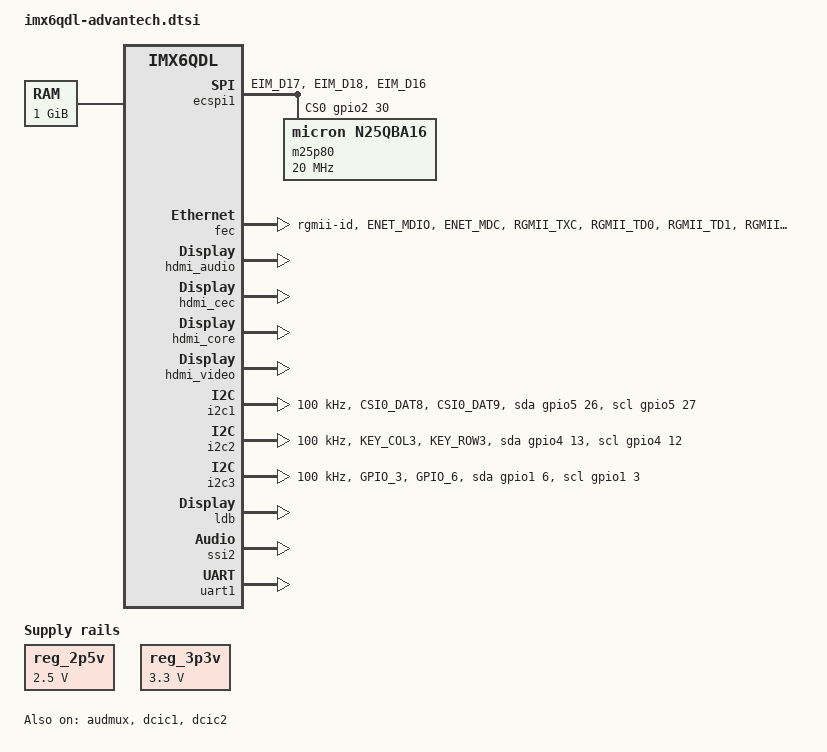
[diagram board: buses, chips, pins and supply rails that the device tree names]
// SPDX-License-Identifier: GPL-2.0+
//
// Copyright 2012 Freescale Semiconductor, Inc.
// Copyright 2011 Linaro Ltd.

#include <dt-bindings/clock/imx6qdl-clock.h>
#include <dt-bindings/gpio/gpio.h>
#include <dt-bindings/input/input.h>

/ {
	aliases {
		mxcfb0 = &mxcfb1;
		mxcfb1 = &mxcfb2;
		mxcfb2 = &mxcfb3;
		mxcfb3 = &mxcfb4;
                mmc0 = &usdhc4;
                mmc1 = &usdhc2;
                mmc2 = &usdhc3;
                mmc3 = &usdhc1;

	};

	chosen {
		stdout-path = &uart1;
	};
	
	memory: memory@10000000 {
		device_type = "memory";
		reg = <0x10000000 0x40000000>;
	};

	reg_2p5v: 2p5v {
		compatible = "regulator-fixed";
		regulator-name = "2P5V";
		regulator-min-microvolt = <2500000>;
		regulator-max-microvolt = <2500000>;
		regulator-always-on;
	};

	reg_3p3v: 3p3v {
		compatible = "regulator-fixed";
		regulator-name = "3P3V";
		regulator-min-microvolt = <3300000>;
		regulator-max-microvolt = <3300000>;
		regulator-always-on;
	};

	audio_sgtl5000: sound {
		compatible = "fsl,sgtl5000",
			     "fsl,imx-audio-sgtl5000";
		model = "sgtl5000";
		ssi-controller = <&ssi2>;
		audio-routing =
			"MIC_IN", "Mic Jack",
			"Mic Jack", "Mic Bias",
			"Headphone Jack", "HP_OUT";
		mux-int-port = <2>;
		mux-ext-port = <3>;
	};

	audio_hdmi: sound-hdmi {
		compatible = "fsl,imx6q-audio-hdmi",
			     "fsl,imx-audio-hdmi";
		model = "imx-audio-hdmi";
		hdmi-controller = <&hdmi_audio>;
	};

	mxcfb1: fb@0 {
		compatible = "fsl,mxc_sdc_fb";
		disp_dev = "hdmi";
		interface_pix_fmt = "RGB24";
		mode_str ="1920x1080M@60";
		default_bpp = <16>;
		int_clk = <0>;
		late_init = <0>;
		status = "disabled";
	};

	mxcfb2: fb@1 {
		compatible = "fsl,mxc_sdc_fb";
		disp_dev = "lcd";
		interface_pix_fmt = "RGB24";
		mode_str ="1920x1080M@60";
		default_bpp = <16>;
		int_clk = <0>;
		late_init = <0>;
		status = "disabled";
	};

	mxcfb3: fb@2 {
		compatible = "fsl,mxc_sdc_fb";
		disp_dev = "ldb";
		interface_pix_fmt = "RGB24";
		default_bpp = <16>;
		int_clk = <0>;
		late_init = <0>;
		status = "disabled";
	};

	mxcfb4: fb@3 {
		compatible = "fsl,mxc_sdc_fb";
		disp_dev = "ldb";
		interface_pix_fmt = "RGB24";
		default_bpp = <16>;
		int_clk = <0>;
		late_init = <0>;
		status = "disabled";
	};

	lcd@0 {
		compatible = "fsl,lcd";
		ipu_id = <0>;
		disp_id = <0>;
		default_ifmt = "RGB565";
		pinctrl-names = "default";
		pinctrl-0 = <&pinctrl_ipu1_1>;
		status = "okay";
	};

	bkl: backlight {
		pinctrl-names = "default";
		pinctrl-0 = <&pinctrl_lvds_bkl_1 &pinctrl_lvds_vcc_1>;
		compatible = "pwm-backlight";
		brightness-levels = <0 4 8 16 32 64 128 255>;
		default-brightness-level = <7>;
		status = "disabled";
	};

	v4l2_capture_0: v4l2_cap_0 {
		compatible = "fsl,imx6q-v4l2-capture";
		ipu_id = <0>;
		csi_id = <0>;
		mclk_source = <0>;
		status = "disabled";
	};

	v4l2_capture_1: v4l2_cap_1 {
		compatible = "fsl,imx6q-v4l2-capture";
		ipu_id = <0>;
		csi_id = <1>;
		mclk_source = <0>;
		status = "disabled";
	};

	v4l2_output: v4l2_out {
		compatible = "fsl,mxc_v4l2_output";
		status = "okay";
	};
};

&mipi_csi {
	status = "disabled";
	ipu_id = <0>;
	csi_id = <1>;
	v_channel = <0>;
	lanes = <2>;
};

&audmux {
	pinctrl-names = "default";
	pinctrl-0 = <&pinctrl_audmux_2>;
	status = "okay";
};

&clks {
	assigned-clocks = <&clks IMX6QDL_CLK_LDB_DI0_SEL>,
			  <&clks IMX6QDL_CLK_LDB_DI1_SEL>;
	assigned-clock-parents = <&clks IMX6QDL_CLK_PLL2_PFD0_352M>,
				 <&clks IMX6QDL_CLK_PLL2_PFD0_352M>;
};

&dcic1 {
	dcic_id = <0>;
	dcic_mux = "dcic-hdmi";
	status = "okay";
};

&dcic2 {
	dcic_id = <1>;
	dcic_mux = "dcic-lvds1";
	status = "okay";
};

&ecspi1 {
	cs-gpios = <&gpio2 30 GPIO_ACTIVE_HIGH>;
	pinctrl-names = "default";
	pinctrl-0 = <&pinctrl_ecspi1_cs_0 &pinctrl_ecspi1_1>;
	status = "okay";

	m25p80@0 {
		#address-cells = <1>;
		#size-cells = <1>;
		compatible = "micron,n25qba16", "jedec,spi-nor";
		spi-max-frequency = <20000000>;
		reg = <0>;
	};
};

&fec {
	pinctrl-names = "default";
	pinctrl-0 = <&pinctrl_enet1_1>;
	phy-mode = "rgmii-id";
	fsl,magic-packet;
	status = "okay";
};

&gpc {
	fsl,ldo-bypass = <0>; /* use ldo-bypass, u-boot will check it and configure */
	fsl,wdog-reset = <1>; /* watchdog select of reset source */
	pu-supply = <&reg_pu>; /* ldo-bypass:use pu_dummy if VDDSOC share with VDDPU */
};

&hdmi_audio {
	status = "okay";
};

&hdmi_cec {
	status = "okay";
};

&hdmi_core {
	ipu_id = <1>;
	disp_id = <1>;
	status = "okay";
};

&hdmi_video {
	fsl,phy_reg_vlev = <0x0294>;
	fsl,phy_reg_cksymtx = <0x800d>;
	status = "okay";
};

&i2c1 {
	clock-frequency = <100000>;
	pinctrl-names = "default", "gpio";
	pinctrl-0 = <&pinctrl_i2c1>;
	pinctrl-1 = <&pinctrl_i2c1_gpio>;
	scl-gpios = <&gpio5 27 GPIO_ACTIVE_HIGH>;
	sda-gpios = <&gpio5 26 GPIO_ACTIVE_HIGH>;
	status = "okay";
};

&i2c2 {
	clock-frequency = <100000>;
	pinctrl-names = "default", "gpio";
	pinctrl-0 = <&pinctrl_i2c2>;
	pinctrl-1 = <&pinctrl_i2c2_gpio>;
	scl-gpios = <&gpio4 12 GPIO_ACTIVE_HIGH>;
	sda-gpios = <&gpio4 13 GPIO_ACTIVE_HIGH>;
	status = "okay";
};

&i2c3 {
	clock-frequency = <100000>;
	pinctrl-names = "default", "gpio";
	pinctrl-0 = <&pinctrl_i2c3>;
	pinctrl-1 = <&pinctrl_i2c3_gpio>;
	scl-gpios = <&gpio1 3 GPIO_ACTIVE_HIGH>;
	sda-gpios = <&gpio1 6 GPIO_ACTIVE_HIGH>;
	status = "okay";
};

&iomuxc {

	enet1 {
		pinctrl_enet1_1: enetgrp {
			fsl,pins = <
				MX6QDL_PAD_ENET_MDIO__ENET_MDIO		0x1b0b0
				MX6QDL_PAD_ENET_MDC__ENET_MDC		0x1b0b0
				MX6QDL_PAD_RGMII_TXC__RGMII_TXC		0x1b030
				MX6QDL_PAD_RGMII_TD0__RGMII_TD0		0x1b030
				MX6QDL_PAD_RGMII_TD1__RGMII_TD1		0x1b030
				MX6QDL_PAD_RGMII_TD2__RGMII_TD2		0x1b030
				MX6QDL_PAD_RGMII_TD3__RGMII_TD3		0x1b030
				MX6QDL_PAD_RGMII_TX_CTL__RGMII_TX_CTL	0x1b030
				MX6QDL_PAD_ENET_REF_CLK__ENET_TX_CLK	0x1b0b0
				MX6QDL_PAD_RGMII_RXC__RGMII_RXC		0x1b030
				MX6QDL_PAD_RGMII_RD0__RGMII_RD0		0x1b030
				MX6QDL_PAD_RGMII_RD1__RGMII_RD1		0x1b030
				MX6QDL_PAD_RGMII_RD2__RGMII_RD2		0x1b030
				MX6QDL_PAD_RGMII_RD3__RGMII_RD3		0x1b030
				MX6QDL_PAD_RGMII_RX_CTL__RGMII_RX_CTL	0x1b030
			>;
		};

		pinctrl_enet1_rst_1: enet1_rstgrp-1 {
			fsl,pins = <
				MX6QDL_PAD_ENET_CRS_DV__GPIO1_IO25	0x80000000 /* RGMII_RST# */
			>;
		};
	};

	hog {
		/* Common GPIO */
		pinctrl_hog_1: hoggrp-1 {
			fsl,pins = <
				MX6QDL_PAD_NANDF_D2__GPIO2_IO02 	0x1b0b0 /* SD2_CD */
				MX6QDL_PAD_NANDF_D3__GPIO2_IO03 	0x1b0b0	/* SD2_WP */
				MX6QDL_PAD_EIM_D30__GPIO3_IO30 		0x80000000	/* BORAD_ID0 */
				MX6QDL_PAD_EIM_D31__GPIO3_IO31 		0x80000000	/* BORAD_ID1 */
				MX6QDL_PAD_GPIO_0__CCM_CLKO1   		0x130b0     /* AUDIO CLK */
			>;
		};
	};

	lvds {
		pinctrl_lvds_bkl_1: lvds_bklgrp-1 {
			fsl,pins = <
				MX6QDL_PAD_KEY_COL0__GPIO4_IO06		0x170b0		/* LCD_BKLT_EN */
			>;
		};
		pinctrl_lvds_bkl_2: lvds_bklgrp-2 {
			fsl,pins = <
				MX6QDL_PAD_SD1_CLK__GPIO1_IO20		0x170b0		/* LCD_BKLT_EN */
			>;
		};
		pinctrl_lvds_vcc_1: lvds_vccgrp-1 {
			fsl,pins = <
				MX6QDL_PAD_KEY_ROW0__GPIO4_IO07		0x170b0		/* LCD_VDD_EN */
			>;
		};
		pinctrl_bklt_vcc_1: bklt_vccgrp-1 {
			fsl,pins = <
				MX6QDL_PAD_KEY_COL0__GPIO4_IO06		0x170b0		/* VDD_BKLT_EN */
			>;
		};
	};

	/* Add */
	audmux {
		pinctrl_audmux_1: audmux-1 {
			fsl,pins = <
				MX6QDL_PAD_SD2_DAT0__AUD4_RXD  0x130b0
				MX6QDL_PAD_SD2_DAT3__AUD4_TXC  0x130b0
				MX6QDL_PAD_SD2_DAT2__AUD4_TXD  0x110b0
				MX6QDL_PAD_SD2_DAT1__AUD4_TXFS 0x130b0
			>;
		};

		pinctrl_audmux_2: audmux-2 {
			fsl,pins = <
				MX6QDL_PAD_CSI0_DAT7__AUD3_RXD  0x130b0
				MX6QDL_PAD_CSI0_DAT4__AUD3_TXC  0x130b0
				MX6QDL_PAD_CSI0_DAT5__AUD3_TXD  0x110b0
				MX6QDL_PAD_CSI0_DAT6__AUD3_TXFS 0x130b0
			>;
		};

		pinctrl_audmux_3: audmux-3 {
			fsl,pins = <
				MX6QDL_PAD_DISP0_DAT16__AUD5_TXC  0x130b0
				MX6QDL_PAD_DISP0_DAT18__AUD5_TXFS 0x130b0
				MX6QDL_PAD_DISP0_DAT19__AUD5_RXD  0x130b0
			>;
		};
	};

	ecspi1 {
		pinctrl_ecspi1_cs_1: ecspi1_cs_grp-1 {
			fsl,pins = <
				MX6QDL_PAD_EIM_D19__GPIO3_IO19 0x80000000
			>;
		};

		pinctrl_ecspi1_1: ecspi1grp-1 {
			fsl,pins = <
				MX6QDL_PAD_EIM_D17__ECSPI1_MISO 0x100b1
				MX6QDL_PAD_EIM_D18__ECSPI1_MOSI 0x100b1
				MX6QDL_PAD_EIM_D16__ECSPI1_SCLK 0x100b1
			>;
		};

		pinctrl_ecspi1_2: ecspi1grp-2 {
			fsl,pins = <
				MX6QDL_PAD_KEY_COL1__ECSPI1_MISO 0x100b1
				MX6QDL_PAD_KEY_ROW0__ECSPI1_MOSI 0x100b1
				MX6QDL_PAD_KEY_COL0__ECSPI1_SCLK 0x100b1
			>;
		};
	};

	ecspi3 {
		pinctrl_ecspi3_1: ecspi3grp-1 {
			fsl,pins = <
				MX6QDL_PAD_DISP0_DAT2__ECSPI3_MISO 0x100b1
				MX6QDL_PAD_DISP0_DAT1__ECSPI3_MOSI 0x100b1
				MX6QDL_PAD_DISP0_DAT0__ECSPI3_SCLK 0x100b1
			>;
		};
	};


	can1 {
		pinctrl_flexcan1_1: flexcan1grp-1 {
			fsl,pins = <
				MX6QDL_PAD_KEY_ROW2__FLEXCAN1_RX 0x80000000
				MX6QDL_PAD_KEY_COL2__FLEXCAN1_TX 0x80000000
			>;
		};

		pinctrl_flexcan1_2: flexcan1grp-2 {
			fsl,pins = <
				MX6QDL_PAD_GPIO_7__FLEXCAN1_TX   0x80000000
				MX6QDL_PAD_KEY_ROW2__FLEXCAN1_RX 0x80000000
			>;
		};
	};

	can2 {
		pinctrl_flexcan2_1: flexcan2grp-1 {
			fsl,pins = <
				MX6QDL_PAD_KEY_COL4__FLEXCAN2_TX 0x80000000
				MX6QDL_PAD_KEY_ROW4__FLEXCAN2_RX 0x80000000
			>;
		};
	};
	hdmi_hdcp {
		pinctrl_hdmi_cec: hdmicecgrp {
			fsl,pins = <
				MX6QDL_PAD_KEY_ROW2__HDMI_TX_CEC_LINE 0x108b0
			>;
		};

		pinctrl_hdmi_hdcp: hdmihdcpgrp {
			fsl,pins = <
				MX6QDL_PAD_KEY_COL3__HDMI_TX_DDC_SCL 0x4001b8b1
				MX6QDL_PAD_KEY_ROW3__HDMI_TX_DDC_SDA 0x4001b8b1
			>;
		};
	};

	i2c1 {
		pinctrl_i2c1: i2c1grp {
			fsl,pins = <
				MX6QDL_PAD_CSI0_DAT8__I2C1_SDA		0x4001b8b1
				MX6QDL_PAD_CSI0_DAT9__I2C1_SCL		0x4001b8b1
			>;
		};
	};

	i2c2 {
		pinctrl_i2c1_gpio: i2c1_gpio_grp {
			fsl,pins = <
				MX6QDL_PAD_CSI0_DAT8__GPIO5_IO26	0x1b0b0
				MX6QDL_PAD_CSI0_DAT9__GPIO5_IO27	0x1b8b0
			>;
		};

		pinctrl_i2c2: i2c2grp {
			fsl,pins = <
				MX6QDL_PAD_KEY_COL3__I2C2_SCL		0x4001b8b1
				MX6QDL_PAD_KEY_ROW3__I2C2_SDA		0x4001b8b1
			>;
		};

		pinctrl_i2c2_gpio: i2c2_gpio_grp {
			fsl,pins = <
				MX6QDL_PAD_KEY_COL3__GPIO4_IO12		0x1b8b0
				MX6QDL_PAD_KEY_ROW3__GPIO4_IO13		0x1b0b0
			>;
		};
	};
		pinctrl_i2c2_egalax_int: i2c2egalaxintgrp {
	i2c3 {
			fsl,pins = <
				MX6QDL_PAD_NANDF_ALE__GPIO6_IO08	0x1b0b0
			>;
		};

		pinctrl_i2c3: i2c3grp {
			fsl,pins = <
				MX6QDL_PAD_GPIO_3__I2C3_SCL		0x4001b8b1
				MX6QDL_PAD_GPIO_6__I2C3_SDA		0x4001b8b1
			>;
		};

		pinctrl_i2c3_gpio: i2c3_gpio_grp {
			fsl,pins = <
				MX6QDL_PAD_GPIO_3__GPIO1_IO03		0x1b8b0
				MX6QDL_PAD_GPIO_6__GPIO1_IO06		0x1b0b0
			>;
		};

	};
	ipu1 {
		pinctrl_ipu1_1: ipu1grp-1 {
			fsl,pins = <
				MX6QDL_PAD_DI0_DISP_CLK__IPU1_DI0_DISP_CLK 0x10
				MX6QDL_PAD_DI0_PIN15__IPU1_DI0_PIN15       0x10
				MX6QDL_PAD_DI0_PIN2__IPU1_DI0_PIN02        0x10
				MX6QDL_PAD_DI0_PIN3__IPU1_DI0_PIN03        0x10
				MX6QDL_PAD_DI0_PIN4__IPU1_DI0_PIN04        0x80000000
				MX6QDL_PAD_DISP0_DAT0__IPU1_DISP0_DATA00   0x10
				MX6QDL_PAD_DISP0_DAT1__IPU1_DISP0_DATA01   0x10
				MX6QDL_PAD_DISP0_DAT2__IPU1_DISP0_DATA02   0x10
				MX6QDL_PAD_DISP0_DAT3__IPU1_DISP0_DATA03   0x10
				MX6QDL_PAD_DISP0_DAT4__IPU1_DISP0_DATA04   0x10
				MX6QDL_PAD_DISP0_DAT5__IPU1_DISP0_DATA05   0x10
				MX6QDL_PAD_DISP0_DAT6__IPU1_DISP0_DATA06   0x10
				MX6QDL_PAD_DISP0_DAT7__IPU1_DISP0_DATA07   0x10
				MX6QDL_PAD_DISP0_DAT8__IPU1_DISP0_DATA08   0x10
				MX6QDL_PAD_DISP0_DAT9__IPU1_DISP0_DATA09   0x10
				MX6QDL_PAD_DISP0_DAT10__IPU1_DISP0_DATA10  0x10
				MX6QDL_PAD_DISP0_DAT11__IPU1_DISP0_DATA11  0x10
				MX6QDL_PAD_DISP0_DAT12__IPU1_DISP0_DATA12  0x10
				MX6QDL_PAD_DISP0_DAT13__IPU1_DISP0_DATA13  0x10
				MX6QDL_PAD_DISP0_DAT14__IPU1_DISP0_DATA14  0x10
				MX6QDL_PAD_DISP0_DAT15__IPU1_DISP0_DATA15  0x10
				MX6QDL_PAD_DISP0_DAT16__IPU1_DISP0_DATA16  0x10
				MX6QDL_PAD_DISP0_DAT17__IPU1_DISP0_DATA17  0x10
				MX6QDL_PAD_DISP0_DAT18__IPU1_DISP0_DATA18  0x10
				MX6QDL_PAD_DISP0_DAT19__IPU1_DISP0_DATA19  0x10
				MX6QDL_PAD_DISP0_DAT20__IPU1_DISP0_DATA20  0x10
				MX6QDL_PAD_DISP0_DAT21__IPU1_DISP0_DATA21  0x10
				MX6QDL_PAD_DISP0_DAT22__IPU1_DISP0_DATA22  0x10
				MX6QDL_PAD_DISP0_DAT23__IPU1_DISP0_DATA23  0x10
			>;
		};

		pinctrl_ipu1_2: ipu1grp-2 { /* parallel camera */
			fsl,pins = <
				MX6QDL_PAD_CSI0_DAT12__IPU1_CSI0_DATA12    0x80000000
				MX6QDL_PAD_CSI0_DAT13__IPU1_CSI0_DATA13    0x80000000
				MX6QDL_PAD_CSI0_DAT14__IPU1_CSI0_DATA14    0x80000000
				MX6QDL_PAD_CSI0_DAT15__IPU1_CSI0_DATA15    0x80000000
				MX6QDL_PAD_CSI0_DAT16__IPU1_CSI0_DATA16    0x80000000
				MX6QDL_PAD_CSI0_DAT17__IPU1_CSI0_DATA17    0x80000000
				MX6QDL_PAD_CSI0_DAT18__IPU1_CSI0_DATA18    0x80000000
				MX6QDL_PAD_CSI0_DAT19__IPU1_CSI0_DATA19    0x80000000
				MX6QDL_PAD_CSI0_DATA_EN__IPU1_CSI0_DATA_EN 0x80000000
				MX6QDL_PAD_CSI0_PIXCLK__IPU1_CSI0_PIXCLK   0x80000000
				MX6QDL_PAD_CSI0_MCLK__IPU1_CSI0_HSYNC      0x80000000
				MX6QDL_PAD_CSI0_VSYNC__IPU1_CSI0_VSYNC     0x80000000
			>;
		};

	};

	pwm1 {
		pinctrl_pwm1_1: pwm1grp-1 {
			fsl,pins = <
				MX6QDL_PAD_SD1_DAT3__PWM1_OUT		0x1b0b1
			>;
		};
	};
		
	pwm3 {
		pinctrl_pwm3_1: pwm3grp-1 {
			fsl,pins = <
				MX6QDL_PAD_SD4_DAT1__PWM3_OUT 		0x1b0b1
				>;
		};
	};
		
	spdif {
		pinctrl_spdif_1: spdifgrp-1 {
			fsl,pins = <
				MX6QDL_PAD_KEY_COL3__SPDIF_IN 0x1b0b0
			>;
		};

		pinctrl_spdif_2: spdifgrp-2 {
			fsl,pins = <
				MX6QDL_PAD_GPIO_16__SPDIF_IN  0x1b0b0
				MX6QDL_PAD_GPIO_17__SPDIF_OUT 0x1b0b0
			>;
		};
	};

	uart1 {
		pinctrl_uart1_1: uart1grp-1 {
			fsl,pins = <
				MX6QDL_PAD_CSI0_DAT10__UART1_TX_DATA	0x1b0b1
				MX6QDL_PAD_CSI0_DAT11__UART1_RX_DATA	0x1b0b1
			>;
		};
	};

	uart2 {
		pinctrl_uart2_1: uart2grp-1 {
			fsl,pins = <
				MX6QDL_PAD_EIM_D26__UART2_TX_DATA 0x1b0b1
				MX6QDL_PAD_EIM_D27__UART2_RX_DATA 0x1b0b1
			>;
		};
	};

	uart3 {
		pinctrl_uart3_1: uart3grp-1 {
			fsl,pins = <
				MX6QDL_PAD_SD4_CLK__UART3_RX_DATA 0x1b0b1
				MX6QDL_PAD_SD4_CMD__UART3_TX_DATA 0x1b0b1
				MX6QDL_PAD_EIM_D30__UART3_CTS_B   0x1b0b1
				MX6QDL_PAD_EIM_EB3__UART3_RTS_B   0x1b0b1
			>;
		};

	};
	uart4 {
		pinctrl_uart4_1: uart4grp-1 {
			fsl,pins = <
				MX6QDL_PAD_KEY_COL0__UART4_TX_DATA 0x1b0b1
				MX6QDL_PAD_KEY_ROW0__UART4_RX_DATA 0x1b0b1
			>;
		};
	};

	uart5 {
		pinctrl_uart5_1: uart5grp-1 {
			fsl,pins = <
				MX6QDL_PAD_KEY_COL1__UART5_TX_DATA	0x1b0b1
				MX6QDL_PAD_KEY_ROW1__UART5_RX_DATA	0x1b0b1
				MX6QDL_PAD_KEY_COL4__UART5_RTS_B	0x1b0b1
				MX6QDL_PAD_KEY_ROW4__UART5_CTS_B	0x1b0b1
			>;
		};

		pinctrl_uart5dte_1: uart5dtegrp-1 {
			fsl,pins = <
				MX6QDL_PAD_KEY_ROW1__UART5_TX_DATA	0x1b0b1
				MX6QDL_PAD_KEY_COL1__UART5_RX_DATA	0x1b0b1
				MX6QDL_PAD_KEY_ROW4__UART5_RTS_B	0x1b0b1
				MX6QDL_PAD_KEY_COL4__UART5_CTS_B	0x1b0b1
			>;
		};
	};

	usbotg {
		pinctrl_usbotg_1: usbotggrp-1 {
			fsl,pins = <
				MX6QDL_PAD_GPIO_1__USB_OTG_ID 0x17059
			>;
		};

		pinctrl_usbotg_2: usbotggrp-2 {
			fsl,pins = <
				MX6QDL_PAD_ENET_RX_ER__USB_OTG_ID 0x17059
			>;
		};
	};

	usdhc2 {
		pinctrl_usdhc2_1: usdhc2grp-1 {
			fsl,pins = <
				MX6QDL_PAD_SD2_CMD__SD2_CMD		0x17059
				MX6QDL_PAD_SD2_CLK__SD2_CLK		0x10059
				MX6QDL_PAD_SD2_DAT0__SD2_DATA0		0x17059
				MX6QDL_PAD_SD2_DAT1__SD2_DATA1		0x17059
				MX6QDL_PAD_SD2_DAT2__SD2_DATA2		0x17059
				MX6QDL_PAD_SD2_DAT3__SD2_DATA3		0x17059
				MX6QDL_PAD_NANDF_D4__SD2_DATA4		0x17059
				MX6QDL_PAD_NANDF_D5__SD2_DATA5		0x17059
				MX6QDL_PAD_NANDF_D6__SD2_DATA6		0x17059
				MX6QDL_PAD_NANDF_D7__SD2_DATA7		0x17059
			>;
		};

		pinctrl_usdhc2_2: usdhc2grp-2 {
			fsl,pins = <
				MX6QDL_PAD_SD2_CMD__SD2_CMD    		0x17059
				MX6QDL_PAD_SD2_CLK__SD2_CLK    		0x10059
				MX6QDL_PAD_SD2_DAT0__SD2_DATA0 		0x17059
				MX6QDL_PAD_SD2_DAT1__SD2_DATA1		0x17059
				MX6QDL_PAD_SD2_DAT2__SD2_DATA2 		0x17059
				MX6QDL_PAD_SD2_DAT3__SD2_DATA3 		0x17059
			>;
		};
	};
	usdhc3 {
		pinctrl_usdhc3_1: usdhc3grp-1 {
			fsl,pins = <
				MX6QDL_PAD_SD3_CMD__SD3_CMD		0x17059
				MX6QDL_PAD_SD3_CLK__SD3_CLK		0x10059
				MX6QDL_PAD_SD3_DAT0__SD3_DATA0		0x17059
				MX6QDL_PAD_SD3_DAT1__SD3_DATA1		0x17059
				MX6QDL_PAD_SD3_DAT2__SD3_DATA2		0x17059
				MX6QDL_PAD_SD3_DAT3__SD3_DATA3		0x17059
				MX6QDL_PAD_SD3_DAT4__SD3_DATA4		0x17059
				MX6QDL_PAD_SD3_DAT5__SD3_DATA5		0x17059
				MX6QDL_PAD_SD3_DAT6__SD3_DATA6		0x17059
				MX6QDL_PAD_SD3_DAT7__SD3_DATA7		0x17059
			>;
		};

		pinctrl_usdhc3_2: usdhc3grp-2 {
			fsl,pins = <
				MX6QDL_PAD_SD3_CMD__SD3_CMD   		0x17059
				MX6QDL_PAD_SD3_CLK__SD3_CLK    		0x10059
				MX6QDL_PAD_SD3_DAT0__SD3_DATA0 		0x17059
				MX6QDL_PAD_SD3_DAT1__SD3_DATA1 		0x17059
				MX6QDL_PAD_SD3_DAT2__SD3_DATA2 		0x17059
				MX6QDL_PAD_SD3_DAT3__SD3_DATA3 		0x17059
			>;
		};
	};
	usdhc4 {
		pinctrl_usdhc4_1: usdhc4grp-1 {
			fsl,pins = <
				MX6QDL_PAD_SD4_CMD__SD4_CMD		0x17059
				MX6QDL_PAD_SD4_CLK__SD4_CLK		0x10059
				MX6QDL_PAD_SD4_DAT0__SD4_DATA0		0x17059
				MX6QDL_PAD_SD4_DAT1__SD4_DATA1		0x17059
				MX6QDL_PAD_SD4_DAT2__SD4_DATA2		0x17059
				MX6QDL_PAD_SD4_DAT3__SD4_DATA3		0x17059
				MX6QDL_PAD_SD4_DAT4__SD4_DATA4		0x17059
				MX6QDL_PAD_SD4_DAT5__SD4_DATA5		0x17059
				MX6QDL_PAD_SD4_DAT6__SD4_DATA6		0x17059
				MX6QDL_PAD_SD4_DAT7__SD4_DATA7		0x17059
			>;
		};

	};
};

&ldb {
	status = "okay";
	/* split-mode; */ /* dual-channel setting */

	lvds-channel@0 {
		fsl,data-mapping = "spwg";
		fsl,data-width = <24>;
		crtc = "ipu2-di0";
		primary;
		status = "okay";

		display-timings {
			native-mode = <&timing00>;
			timing00: g070vw01v0 {
				clock-frequency = <29500000>;
				hactive = <800>;
				vactive = <480>;
				hback-porch = <96>;
				hfront-porch = <24>;
				vback-porch = <3>;
				vfront-porch = <10>;
				hsync-len = <72>;
				vsync-len = <7>;
			};

			//SI Test panel
			timing10: g150xgel04 {
				clock-frequency = <63500000>;
				hactive = <1024>;
				vactive = <768>;
				hback-porch = <152>;
				hfront-porch = <48>;
				vback-porch = <3>;
				vfront-porch = <23>;
				hsync-len = <104>;
				vsync-len = <4>;
			};
			//Dual channel panel
			timing20: g190eg01v1 {
				clock-frequency = <109000000>;
				hactive = <1280>;
				vactive = <1024>;
				hback-porch = <216>;
				hfront-porch = <80>;
				vback-porch = <3>;
				vfront-porch = <29>;
				hsync-len = <136>;
				vsync-len = <7>;
			};
			//Dual channel panel 
			timing30: g215hvn0 {
				clock-frequency = <170000000>;
				hactive = <1920>;
				vactive = <1080>;
				hback-porch = <90>;
				hfront-porch = <30>;
				vback-porch = <5>;
				vfront-porch = <38>;
				hsync-len = <60>;
				vsync-len = <7>;
			};

			timing40:g150xgel05 {
				clock-frequency = <65000000>;
				hactive = <1024>;
				vactive = <768>;
				hback-porch = <220>;
				hfront-porch = <40>;
				vback-porch = <21>;
				vfront-porch = <7>;
				hsync-len = <60>;
				vsync-len = <10>;
			};
		};
	};

	lvds-channel@1 {
		fsl,data-mapping = "spwg";
		fsl,data-width = <24>;
		crtc = "ipu1-di1";
		/* crtc = "ipu1-di0"; */ /* dual-channel setting */
		status = "okay";

		display-timings {
			native-mode = <&timing01>;
			timing01: g070vw01v0 {
				clock-frequency = <29500000>;
				hactive = <800>;
				vactive = <480>;
				hback-porch = <96>;
				hfront-porch = <24>;
				vback-porch = <3>;
				vfront-porch = <10>;
				hsync-len = <72>;
				vsync-len = <7>;
			};

			//SI Test panel
			timing11: g150xgel04 {
				clock-frequency = <63500000>;
				hactive = <1024>;
				vactive = <768>;
				hback-porch = <152>;
				hfront-porch = <48>;
				vback-porch = <3>;
				vfront-porch = <23>;
				hsync-len = <104>;
				vsync-len = <4>;
			};

			timing21:g150xgel05 {
				clock-frequency = <65000000>;
				hactive = <1024>;
				vactive = <768>;
				hback-porch = <220>;
				hfront-porch = <40>;
				vback-porch = <21>;
				vfront-porch = <7>;
				hsync-len = <60>;
				vsync-len = <10>;
			};
		};
	};
};

&pwm1 {
	pinctrl-names = "default";
	pinctrl-0 = <&pinctrl_pwm1_1>;
	status = "disabled";
};

&snvs_poweroff {
	status = "okay";
};

&ssi2 {
	assigned-clocks = <&clks IMX6QDL_CLK_PLL4>,
			  <&clks IMX6QDL_PLL4_BYPASS>,
			  <&clks IMX6QDL_CLK_SSI2_SEL>;
	assigned-clock-parents = <&clks IMX6QDL_CLK_OSC>,
				 <&clks IMX6QDL_CLK_PLL4>,
				 <&clks IMX6QDL_CLK_PLL4_AUDIO_DIV>;
	assigned-clock-rates = <737280000>, <0>, <0>;
	status = "okay";
};

&uart1 {
	pinctrl-names = "default";
	pinctrl-0 = <&pinctrl_uart1>;
	status = "okay";
};

&usbphy1 {
	fsl,tx-d-cal = <106>;	
};

&usbphy2 {
	fsl,tx-d-cal = <106>;
};

&usdhc2 {
	pinctrl-names = "default";
	pinctrl-0 = <&pinctrl_usdhc2_1>;
	bus-width = <8>;
	cd-gpios = <&gpio2 2 GPIO_ACTIVE_LOW>;
	wp-gpios = <&gpio2 3 GPIO_ACTIVE_LOW>;
	status = "disabled";
};

&usdhc3 {
	pinctrl-names = "default";
	pinctrl-0 = <&pinctrl_usdhc3_1>;
	bus-width = <8>;
	cd-gpios = <&gpio2 0 GPIO_ACTIVE_LOW>;
	wp-gpios = <&gpio2 1 GPIO_ACTIVE_HIGH>;
	status = "disabled";
};

&usdhc4 {
	pinctrl-names = "default";
	pinctrl-0 = <&pinctrl_usdhc4_1>;
	bus-width = <8>;
	non-removable;
	no-1-8-v;
	auto-cmd23-broken;
	status = "disabled";
};

&wdog1 {
	status = "disabled";
};

